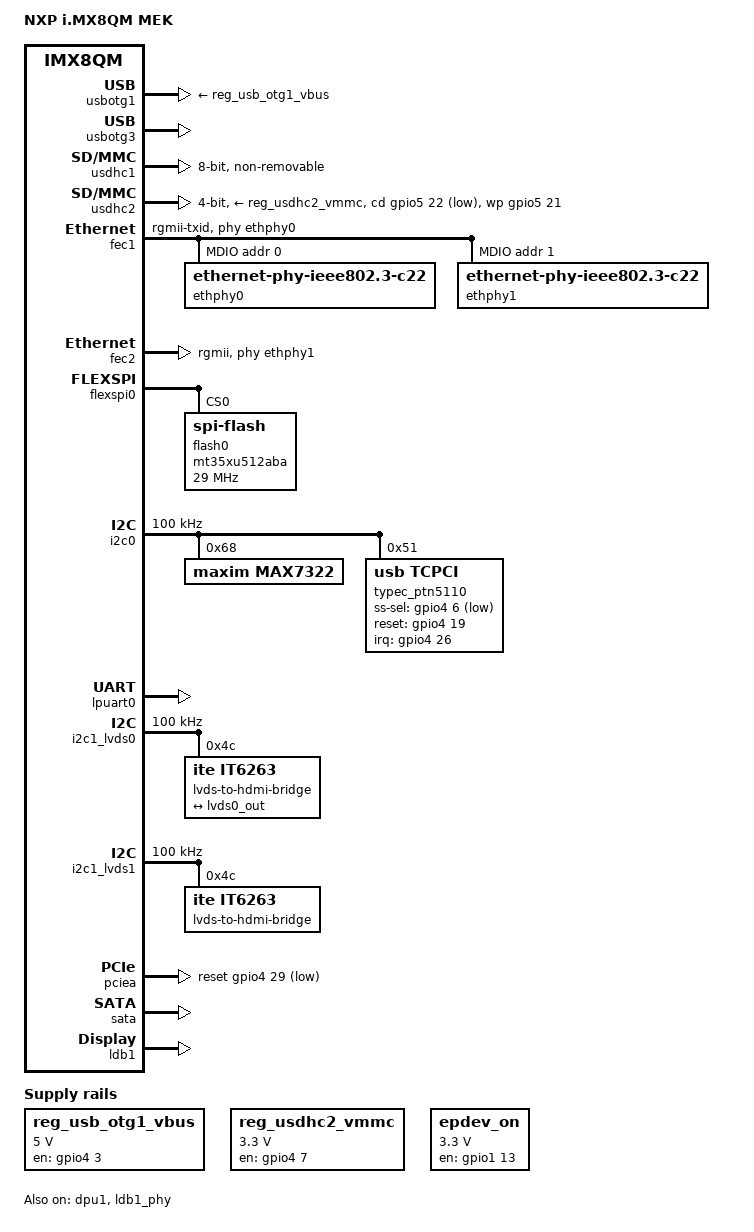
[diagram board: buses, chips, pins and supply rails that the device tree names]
// SPDX-License-Identifier: GPL-2.0+
/*
 * Copyright 2017-2018 NXP
 */

/dts-v1/;

#include "fsl-imx8qm.dtsi"

/ {
	model = "NXP i.MX8QM MEK";
	compatible = "fsl,imx8qm-mek", "fsl,imx8qm";

	aliases {
		gpio8 = &max7322;
	};

	chosen {
		bootargs = "console=ttyLP0,115200 earlycon";
		stdout-path = &lpuart0;
	};

	regulators {
		compatible = "simple-bus";
		#address-cells = <1>;
		#size-cells = <0>;

		reg_usb_otg1_vbus: regulator@0 {
			compatible = "regulator-fixed";
			reg = <0>;
			regulator-name = "usb_otg1_vbus";
			regulator-min-microvolt = <5000000>;
			regulator-max-microvolt = <5000000>;
			gpio = <&gpio4 3 GPIO_ACTIVE_HIGH>;
			enable-active-high;
		};

		reg_usdhc2_vmmc: usdhc2_vmmc {
			compatible = "regulator-fixed";
			regulator-name = "sw-3p3-sd1";
			regulator-min-microvolt = <3300000>;
			regulator-max-microvolt = <3300000>;
			gpio = <&gpio4 7 GPIO_ACTIVE_HIGH>;
			off-on-delay-us = <4800>;
			enable-active-high;
		};

		epdev_on: fixedregulator@100 {
			compatible = "regulator-fixed";
			pinctrl-names = "default", "sleep";
			pinctrl-0 = <&pinctrl_wlreg_on>;
			pinctrl-1 = <&pinctrl_wlreg_on_sleep>;
			regulator-min-microvolt = <3300000>;
			regulator-max-microvolt = <3300000>;
			regulator-name = "epdev_on";
			gpio = <&gpio1 13 0>;
			enable-active-high;
		};
	};
};

&iomuxc {
	pinctrl-names = "default";
	pinctrl-0 = <&pinctrl_hog>;

	imx8qm-mek {
		pinctrl_hog: hoggrp {
			fsl,pins = <
				SC_P_USB_SS3_TC0_LSIO_GPIO4_IO03	  0x06000048
				SC_P_LVDS0_I2C0_SCL_LSIO_GPIO1_IO06	  0x06000021
				SC_P_LVDS0_I2C0_SDA_LSIO_GPIO1_IO07	  0x06000021
				SC_P_QSPI1A_SS1_B_LSIO_GPIO4_IO20		  0x06000021
				SC_P_QSPI1A_DATA2_LSIO_GPIO4_IO24		  0x06000021
				SC_P_QSPI1A_DATA3_LSIO_GPIO4_IO23		  0x06000021
			>;
		};

		pinctrl_fec1: fec1grp {
			fsl,pins = <
				SC_P_COMP_CTL_GPIO_1V8_3V3_ENET_ENETB_PAD	0x000014a0
				SC_P_ENET0_MDC_CONN_ENET0_MDC			0x06000020
				SC_P_ENET0_MDIO_CONN_ENET0_MDIO			0x06000020
				SC_P_ENET0_RGMII_TX_CTL_CONN_ENET0_RGMII_TX_CTL	0x00000061
				SC_P_ENET0_RGMII_TXC_CONN_ENET0_RGMII_TXC	0x00000061
				SC_P_ENET0_RGMII_TXD0_CONN_ENET0_RGMII_TXD0	0x00000061
				SC_P_ENET0_RGMII_TXD1_CONN_ENET0_RGMII_TXD1	0x00000061
				SC_P_ENET0_RGMII_TXD2_CONN_ENET0_RGMII_TXD2	0x00000061
				SC_P_ENET0_RGMII_TXD3_CONN_ENET0_RGMII_TXD3	0x00000061
				SC_P_ENET0_RGMII_RXC_CONN_ENET0_RGMII_RXC	0x00000061
				SC_P_ENET0_RGMII_RX_CTL_CONN_ENET0_RGMII_RX_CTL	0x00000061
				SC_P_ENET0_RGMII_RXD0_CONN_ENET0_RGMII_RXD0	0x00000061
				SC_P_ENET0_RGMII_RXD1_CONN_ENET0_RGMII_RXD1	0x00000061
				SC_P_ENET0_RGMII_RXD2_CONN_ENET0_RGMII_RXD2	0x00000061
				SC_P_ENET0_RGMII_RXD3_CONN_ENET0_RGMII_RXD3	0x00000061
			>;
		};

		pinctrl_fec2: fec2grp {
			fsl,pins = <
				SC_P_COMP_CTL_GPIO_1V8_3V3_ENET_ENETA_PAD	0x000014a0
				SC_P_ENET1_RGMII_TX_CTL_CONN_ENET1_RGMII_TX_CTL	0x00000060
				SC_P_ENET1_RGMII_TXC_CONN_ENET1_RGMII_TXC	0x00000060
				SC_P_ENET1_RGMII_TXD0_CONN_ENET1_RGMII_TXD0	0x00000060
				SC_P_ENET1_RGMII_TXD1_CONN_ENET1_RGMII_TXD1	0x00000060
				SC_P_ENET1_RGMII_TXD2_CONN_ENET1_RGMII_TXD2	0x00000060
				SC_P_ENET1_RGMII_TXD3_CONN_ENET1_RGMII_TXD3	0x00000060
				SC_P_ENET1_RGMII_RXC_CONN_ENET1_RGMII_RXC	0x00000060
				SC_P_ENET1_RGMII_RX_CTL_CONN_ENET1_RGMII_RX_CTL	0x00000060
				SC_P_ENET1_RGMII_RXD0_CONN_ENET1_RGMII_RXD0	0x00000060
				SC_P_ENET1_RGMII_RXD1_CONN_ENET1_RGMII_RXD1	0x00000060
				SC_P_ENET1_RGMII_RXD2_CONN_ENET1_RGMII_RXD2	0x00000060
				SC_P_ENET1_RGMII_RXD3_CONN_ENET1_RGMII_RXD3	0x00000060
			>;
		};

		pinctrl_flexspi0: flexspi0grp {
			fsl,pins = <
				SC_P_QSPI0A_DATA0_LSIO_QSPI0A_DATA0	0x06000021
				SC_P_QSPI0A_DATA1_LSIO_QSPI0A_DATA1	0x06000021
				SC_P_QSPI0A_DATA2_LSIO_QSPI0A_DATA2	0x06000021
				SC_P_QSPI0A_DATA3_LSIO_QSPI0A_DATA3	0x06000021
				SC_P_QSPI0A_DQS_LSIO_QSPI0A_DQS		0x06000021
				SC_P_QSPI0A_SS0_B_LSIO_QSPI0A_SS0_B	0x06000021
				SC_P_QSPI0A_SS1_B_LSIO_QSPI0A_SS1_B	0x06000021
				SC_P_QSPI0A_SCLK_LSIO_QSPI0A_SCLK	0x06000021
				SC_P_QSPI0B_SCLK_LSIO_QSPI0B_SCLK	0x06000021
				SC_P_QSPI0B_DATA0_LSIO_QSPI0B_DATA0	0x06000021
				SC_P_QSPI0B_DATA1_LSIO_QSPI0B_DATA1	0x06000021
				SC_P_QSPI0B_DATA2_LSIO_QSPI0B_DATA2	0x06000021
				SC_P_QSPI0B_DATA3_LSIO_QSPI0B_DATA3	0x06000021
				SC_P_QSPI0B_DQS_LSIO_QSPI0B_DQS		0x06000021
				SC_P_QSPI0B_SS0_B_LSIO_QSPI0B_SS0_B	0x06000021
				SC_P_QSPI0B_SS1_B_LSIO_QSPI0B_SS1_B	0x06000021
			>;
		};

		pinctrl_lpuart0: lpuart0grp {
			fsl,pins = <
				SC_P_UART0_RX_DMA_UART0_RX		0x06000020
				SC_P_UART0_TX_DMA_UART0_TX		0x06000020
			>;
		};

		pinctrl_i2c0: i2c0grp {
			fsl,pins = <
				SC_P_HDMI_TX0_TS_SCL_DMA_I2C0_SCL	0x06000021
				SC_P_HDMI_TX0_TS_SDA_DMA_I2C0_SDA	0x06000021
			>;
		};

		pinctrl_pciea: pcieagrp{
			fsl,pins = <
				SC_P_PCIE_CTRL0_CLKREQ_B_LSIO_GPIO4_IO27	0x06000021
				SC_P_PCIE_CTRL0_WAKE_B_LSIO_GPIO4_IO28		0x04000021
				SC_P_PCIE_CTRL0_PERST_B_LSIO_GPIO4_IO29		0x06000021
				SC_P_USDHC2_RESET_B_LSIO_GPIO4_IO09		0x06000021
			>;
		};

		pinctrl_typec: typecgrp {
			fsl,pins = <
				SC_P_QSPI1A_SS0_B_LSIO_GPIO4_IO19	0x60
				SC_P_USB_SS3_TC3_LSIO_GPIO4_IO06	0x60
				SC_P_QSPI1A_DATA0_LSIO_GPIO4_IO26	0x00000021
			>;
		};

		pinctrl_usbotg1: usbotg1 {
			fsl,pins = <
				SC_P_USB_SS3_TC0_CONN_USB_OTG1_PWR		0x00000021
			>;
		};

		pinctrl_usdhc1: usdhc1grp {
			fsl,pins = <
				SC_P_EMMC0_CLK_CONN_EMMC0_CLK		0x06000041
				SC_P_EMMC0_CMD_CONN_EMMC0_CMD		0x00000021
				SC_P_EMMC0_DATA0_CONN_EMMC0_DATA0	0x00000021
				SC_P_EMMC0_DATA1_CONN_EMMC0_DATA1	0x00000021
				SC_P_EMMC0_DATA2_CONN_EMMC0_DATA2	0x00000021
				SC_P_EMMC0_DATA3_CONN_EMMC0_DATA3	0x00000021
				SC_P_EMMC0_DATA4_CONN_EMMC0_DATA4	0x00000021
				SC_P_EMMC0_DATA5_CONN_EMMC0_DATA5	0x00000021
				SC_P_EMMC0_DATA6_CONN_EMMC0_DATA6	0x00000021
				SC_P_EMMC0_DATA7_CONN_EMMC0_DATA7	0x00000021
				SC_P_EMMC0_STROBE_CONN_EMMC0_STROBE	0x00000041
				SC_P_EMMC0_RESET_B_CONN_EMMC0_RESET_B	0x00000021
			>;
		};

		pinctrl_usdhc2_gpio: usdhc2grpgpio {
			fsl,pins = <
				SC_P_USDHC1_DATA6_LSIO_GPIO5_IO21	0x00000021
				SC_P_USDHC1_DATA7_LSIO_GPIO5_IO22	0x00000021
				SC_P_USDHC1_RESET_B_LSIO_GPIO4_IO07	0x00000021
			>;
		};

		pinctrl_usdhc2: usdhc2grp {
			fsl,pins = <
				SC_P_USDHC1_CLK_CONN_USDHC1_CLK		0x06000041
				SC_P_USDHC1_CMD_CONN_USDHC1_CMD		0x00000021
				SC_P_USDHC1_DATA0_CONN_USDHC1_DATA0	0x00000021
				SC_P_USDHC1_DATA1_CONN_USDHC1_DATA1	0x00000021
				SC_P_USDHC1_DATA2_CONN_USDHC1_DATA2	0x00000021
				SC_P_USDHC1_DATA3_CONN_USDHC1_DATA3	0x00000021
				SC_P_USDHC1_VSELECT_CONN_USDHC1_VSELECT	0x00000021
			>;
		};

		pinctrl_lvds0_lpi2c1: lvds0lpi2c1grp {
			fsl,pins = <
				SC_P_LVDS0_I2C1_SCL_LVDS0_I2C1_SCL	0xc600004c
				SC_P_LVDS0_I2C1_SDA_LVDS0_I2C1_SDA	0xc600004c
			>;
		};

		pinctrl_lvds1_lpi2c1: lvds1lpi2c1grp {
			fsl,pins = <
				SC_P_LVDS1_I2C1_SCL_LVDS1_I2C1_SCL	0xc600004c
				SC_P_LVDS1_I2C1_SDA_LVDS1_I2C1_SDA	0xc600004c
			>;
		};

		pinctrl_wlreg_on: wlregongrp{
			fsl,pins = <
				SC_P_LVDS1_I2C0_SDA_LSIO_GPIO1_IO13		0x06000000
			>;
		};

		pinctrl_wlreg_on_sleep: wlregon_sleepgrp{
			fsl,pins = <
				SC_P_LVDS1_I2C0_SDA_LSIO_GPIO1_IO13		0x07800000
			>;
		};
	};
};

&gpio1 {
	status = "okay";
};

&gpio2 {
	status = "okay";
};

&gpio4 {
	status = "okay";
};

&gpio5 {
	status = "okay";
};

&usbotg1 {
	vbus-supply = <&reg_usb_otg1_vbus>;
	srp-disable;
	hnp-disable;
	adp-disable;
	disable-over-current;
	status = "okay";
};

&usbotg3 {
	status = "okay";
};

&usdhc1 {
	pinctrl-names = "default", "state_100mhz", "state_200mhz";
	pinctrl-0 = <&pinctrl_usdhc1>;
	pinctrl-1 = <&pinctrl_usdhc1>;
	pinctrl-2 = <&pinctrl_usdhc1>;
	bus-width = <8>;
	non-removable;
	status = "okay";
};

&usdhc2 {
	pinctrl-names = "default", "state_100mhz", "state_200mhz";
	pinctrl-0 = <&pinctrl_usdhc2>, <&pinctrl_usdhc2_gpio>;
	pinctrl-1 = <&pinctrl_usdhc2>, <&pinctrl_usdhc2_gpio>;
	pinctrl-2 = <&pinctrl_usdhc2>, <&pinctrl_usdhc2_gpio>;
	bus-width = <4>;
	cd-gpios = <&gpio5 22 GPIO_ACTIVE_LOW>;
	wp-gpios = <&gpio5 21 GPIO_ACTIVE_HIGH>;
	vmmc-supply = <&reg_usdhc2_vmmc>;
	status = "okay";
};

&fec1 {
	pinctrl-names = "default";
	pinctrl-0 = <&pinctrl_fec1>;
	phy-mode = "rgmii-txid";
	phy-handle = <&ethphy0>;
	fsl,magic-packet;
	fsl,rgmii_rxc_dly;
	status = "okay";

	mdio {
		#address-cells = <1>;
		#size-cells = <0>;

		ethphy0: ethernet-phy@0 {
			compatible = "ethernet-phy-ieee802.3-c22";
			reg = <0>;
			at803x,eee-disabled;
			at803x,vddio-1p8v;
		};

		ethphy1: ethernet-phy@1 {
			compatible = "ethernet-phy-ieee802.3-c22";
			reg = <1>;
			at803x,eee-disabled;
			at803x,vddio-1p8v;
		};
	};
};

&fec2 {
	pinctrl-names = "default";
	pinctrl-0 = <&pinctrl_fec2>;
	phy-mode = "rgmii";
	phy-handle = <&ethphy1>;
	fsl,ar8031-phy-fixup;
	fsl,magic-packet;
	status = "okay";
};

&flexspi0 {
	pinctrl-names = "default";
	pinctrl-0 = <&pinctrl_flexspi0>;
	status = "okay";

	flash0: mt35xu512aba@0 {
		reg = <0>;
		#address-cells = <1>;
		#size-cells = <1>;
		compatible = "spi-flash";
		spi-max-frequency = <29000000>;
		spi-nor,ddr-quad-read-dummy = <8>;
	};
};

&i2c0 {
	#address-cells = <1>;
	#size-cells = <0>;
	clock-frequency = <100000>;
	pinctrl-names = "default";
	pinctrl-0 = <&pinctrl_i2c0>;
	status = "okay";

	max7322: gpio@68 {
		compatible = "maxim,max7322";
		reg = <0x68>;
		gpio-controller;
		#gpio-cells = <2>;
	};

	typec_ptn5110: typec@50 {
		compatible = "usb,tcpci";
		pinctrl-names = "default";
		pinctrl-0 = <&pinctrl_typec>;
		reg = <0x51>;
		interrupt-parent = <&gpio4>;
		interrupts = <26 IRQ_TYPE_LEVEL_LOW>;
		ss-sel-gpios = <&gpio4 6 GPIO_ACTIVE_LOW>;
		reset-gpios = <&gpio4 19 GPIO_ACTIVE_HIGH>;
		src-pdos = <0x380190c8 0x3803c0c8>;
		port-type = "drp";
		sink-disable;
		default-role = "source";
		status = "okay";
	};
};

&lpuart0 { /* console */
	pinctrl-names = "default";
	pinctrl-0 = <&pinctrl_lpuart0>;
	status = "okay";
};

&i2c1_lvds0 {
	#address-cells = <1>;
	#size-cells = <0>;
	pinctrl-names = "default";
	pinctrl-0 = <&pinctrl_lvds0_lpi2c1>;
	clock-frequency = <100000>;
	status = "okay";

	lvds-to-hdmi-bridge@4c {
		compatible = "ite,it6263";
		reg = <0x4c>;

		port {
			it6263_0_in: endpoint {
				clock-lanes = <3>;
				data-lanes = <0 1 2 4>;
				remote-endpoint = <&lvds0_out>;
			};
		};
	};
};

&i2c1_lvds1 {
	#address-cells = <1>;
	#size-cells = <0>;
	pinctrl-names = "default";
	pinctrl-0 = <&pinctrl_lvds1_lpi2c1>;
	clock-frequency = <100000>;
	status = "okay";

	lvds-to-hdmi-bridge@4c {
		compatible = "ite,it6263";
		reg = <0x4c>;
	};
};

&pciea{
	ext_osc = <1>;
	pinctrl-names = "default";
	pinctrl-0 = <&pinctrl_pciea>;
	disable-gpio = <&gpio4 9 GPIO_ACTIVE_LOW>;
	reset-gpio = <&gpio4 29 GPIO_ACTIVE_LOW>;
	clkreq-gpio = <&gpio4 27 GPIO_ACTIVE_LOW>;
	epdev_on = <&epdev_on>;
	status = "okay";
};

&sata {
	pinctrl-names = "default";
	pinctrl-0 = <&pinctrl_pciea>;
	clkreq-gpio = <&gpio4 27 GPIO_ACTIVE_LOW>;
	status = "okay";
};

&tsens {
	tsens-num = <6>;
};

&thermal_zones {
	pmic-thermal0 {
		polling-delay-passive = <250>;
		polling-delay = <2000>;
		thermal-sensors = <&tsens 5>;
		trips {
			pmic_alert0: trip0 {
				temperature = <110000>;
				hysteresis = <2000>;
				type = "passive";
			};
			pmic_crit0: trip1 {
				temperature = <125000>;
				hysteresis = <2000>;
				type = "critical";
			};
		};
		cooling-maps {
			map0 {
				trip = <&pmic_alert0>;
				cooling-device =
				<&A53_0 THERMAL_NO_LIMIT THERMAL_NO_LIMIT>;
			};
			map1 {
				trip = <&pmic_alert0>;
				cooling-device =
				<&A72_0 THERMAL_NO_LIMIT THERMAL_NO_LIMIT>;
			};
		};
	};
};

&dpu1 {
	status = "okay";
};

&ldb1_phy {
	status = "okay";
};

&ldb1 {
	status = "okay";

	lvds-channel@0 {
		fsl,data-mapping = "jeida";
		fsl,data-width = <24>;
		status = "okay";

		display-timings {
			native-mode = <&timing0>;

			timing0: timing0 {
				clock-frequency = <74250000>;
				hactive = <1280>;
				vactive = <720>;
				hfront-porch = <220>;
				hback-porch = <110>;
				hsync-len = <40>;
				vback-porch = <5>;
				vfront-porch = <20>;
				vsync-len = <5>;
			};
		};

		port@1 {
			reg = <1>;

			lvds0_out: endpoint {
				remote-endpoint = <&it6263_0_in>;
			};
		};
	};
};

